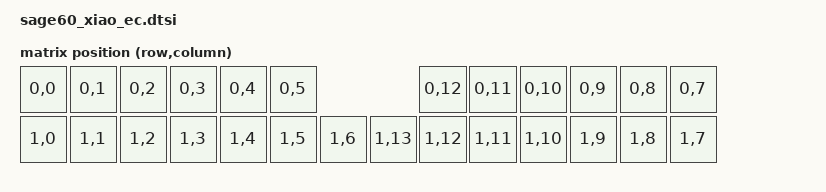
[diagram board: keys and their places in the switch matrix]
/*
 * Copyright (c) 2023 Diwamoto_
 *
 * SPDX-License-Identifier: MIT
 */

#include <dt-bindings/zmk/matrix_transform.h>

#include <layouts/diwamoto/sage60-ec-layouts.dtsi>

/ {
    chosen {
        zmk,physical-layout = &diwamoto_sage60_ec_layout;
    };

    default_transform: keymap_transform_0 {
        compatible = "zmk,matrix-transform";
        columns = <14>;
        rows = <2>;
// | SW1  | SW2  | SW3  | SW4  | SW5  | SW6  |                 | SW6  | SW5  | SW4  | SW3  | SW2  | SW1  |
// | SW7  | SW8  | SW9  | SW10 | SW11 | SW12 |                 | SW12 | SW11 | SW10 | SW9  | SW8  | SW7  |
map = <
    RC(0,0) RC(0,1) RC(0,2) RC(0,3) RC(0,4) RC(0,5)                   RC(0,12) RC(0,11) RC(0,10) RC(0,9) RC(0,8) RC(0,7)
    RC(1,0) RC(1,1) RC(1,2) RC(1,3) RC(1,4) RC(1,5) RC(1,6)  RC(1,13) RC(1,12) RC(1,11) RC(1,10) RC(1,9) RC(1,8) RC(1,7)
            >;
    };

    kscan0: kscan {
        compatible = "zmk,kscan-ec-matrix";
        wakeup-source;
    };
};

&diwamoto_sage60_ec_layout {
    transform = <&default_transform>;
};
